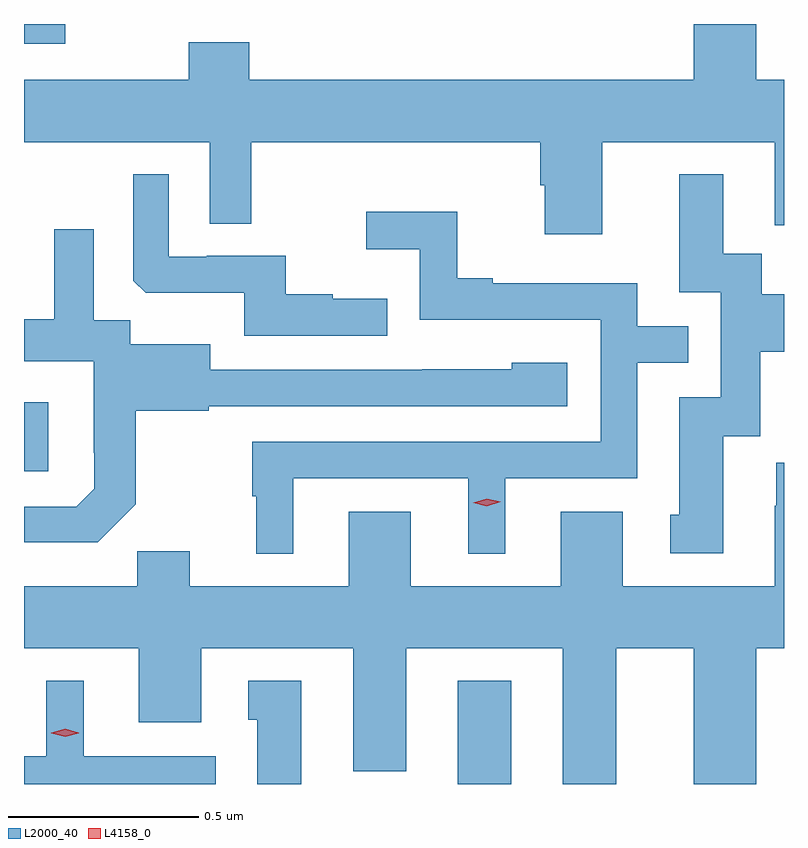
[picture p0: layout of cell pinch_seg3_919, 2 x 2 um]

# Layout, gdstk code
import gdstk
lib = gdstk.Library(unit=1e-6, precision=1e-09)
def R(c, l, rs):  # rectangles x0, y0, x1, y1
    for r in rs: c.add(gdstk.rectangle(r[:2], r[2:], *l))
def P(c, l, *ps):  # polygons
    for p in ps: c.add(gdstk.Polygon(p, *l))
L2000_40 = (2000, 40)
L4158_0 = (4158, 0)

pinch_seg3_919 = lib.new_cell('pinch_seg3_919')
R(pinch_seg3_919, L2000_40, [(823.727,676.583,823.867,676.855), (822.585,677.406,822.649,677.587), (822.585,678.531,822.694,678.583)])
P(pinch_seg3_919, L2000_40, [(824.107,678.272),(824.561,678.272),(824.561,678.054),(824.585,678.054),(824.585,678.436),(824.512,678.436),(824.512,678.583),(824.348,678.583),(824.348,678.436),(823.178,678.436),(823.178,678.535),(823.018,678.535),(823.018,678.436),(822.585,678.436),(822.585,678.272),(823.074,678.272),(823.074,678.058),(823.183,678.058),(823.183,678.272),(823.943,678.272),(823.943,678.159),(823.955,678.159),(823.955,678.03),(824.107,678.03)],
  [(824.425,677.498),(824.523,677.498),(824.523,677.72),(824.585,677.72),(824.585,677.872),(824.527,677.872),(824.527,677.978),(824.425,677.978),(824.425,678.187),(824.309,678.187),(824.309,677.877),(824.418,677.877),(824.418,677.601),(824.309,677.601),(824.309,677.292),(824.285,677.292),(824.285,677.19),(824.425,677.19)],
  [(823.541,677.86),(823.397,677.86),(823.397,677.872),(823.274,677.872),(823.274,677.973),(823.066,677.973),(823.066,677.97),(822.966,677.97),(822.966,678.187),(822.873,678.187),(822.873,677.907),(822.905,677.876),(823.164,677.876),(823.164,677.763),(823.541,677.763)],
  [(823.294,677.388),(823.754,677.388),(823.754,677.189),(823.852,677.189),(823.852,677.388),(824.199,677.388),(824.199,677.691),(824.333,677.691),(824.333,677.787),(824.199,677.787),(824.199,677.901),(823.819,677.901),(823.819,677.914),(823.725,677.914),(823.725,678.089),(823.485,678.089),(823.485,677.99),(823.626,677.99),(823.626,677.805),(824.103,677.805),(824.103,677.484),(823.185,677.484),(823.185,677.34),(823.196,677.34),(823.196,677.189),(823.294,677.189)],
  [(822.879,677.319),(822.879,677.565),(823.071,677.565),(823.071,677.577),(824.014,677.577),(824.014,677.692),(823.869,677.692),(823.869,677.674),(823.633,677.674),(823.633,677.673),(823.075,677.673),(823.075,677.74),(822.864,677.74),(822.864,677.804),(822.769,677.804),(822.769,678.043),(822.665,678.043),(822.665,677.806),(822.585,677.806),(822.585,677.696),(822.768,677.696),(822.768,677.455),(822.77,677.455),(822.77,677.36),(822.723,677.313),(822.585,677.313),(822.585,677.219),(822.779,677.219)],
  [(824.143,676.94),(824.348,676.94),(824.348,676.583),(824.512,676.583),(824.512,676.94),(824.585,676.94),(824.585,677.428),(824.564,677.428),(824.564,677.315),(824.561,677.315),(824.561,677.104),(824.161,677.104),(824.161,677.299),(823.997,677.299),(823.997,677.104),(823.603,677.104),(823.603,677.299),(823.439,677.299),(823.439,677.104),(823.021,677.104),(823.021,677.195),(822.883,677.195),(822.883,677.104),(822.585,677.104),(822.585,676.94),(822.887,676.94),(822.887,676.746),(823.051,676.746),(823.051,676.94),(823.451,676.94),(823.451,676.729),(823.452,676.729),(823.452,676.617),(823.591,676.617),(823.591,676.94),(824.003,676.94),(824.003,676.583),(824.143,676.583)],
  [(823.315,676.855),(823.175,676.855),(823.175,676.752),(823.199,676.752),(823.199,676.583),(823.315,676.583)],
  [(823.089,676.656),(822.742,676.656),(822.742,676.855),(822.644,676.855),(822.644,676.656),(822.585,676.656),(822.585,676.583),(823.089,676.583)])
P(pinch_seg3_919, L4158_0, [(823.803,677.314),(823.767,677.323),(823.767,677.323),(823.767,677.323),(823.803,677.334),(823.839,677.326),(823.839,677.326),(823.839,677.326)],
  [(822.693,676.707),(822.657,676.717),(822.657,676.718),(822.657,676.718),(822.693,676.728),(822.729,676.718),(822.729,676.718),(822.729,676.717)])

lib.write_gds('pinch_seg3_919.gds')
